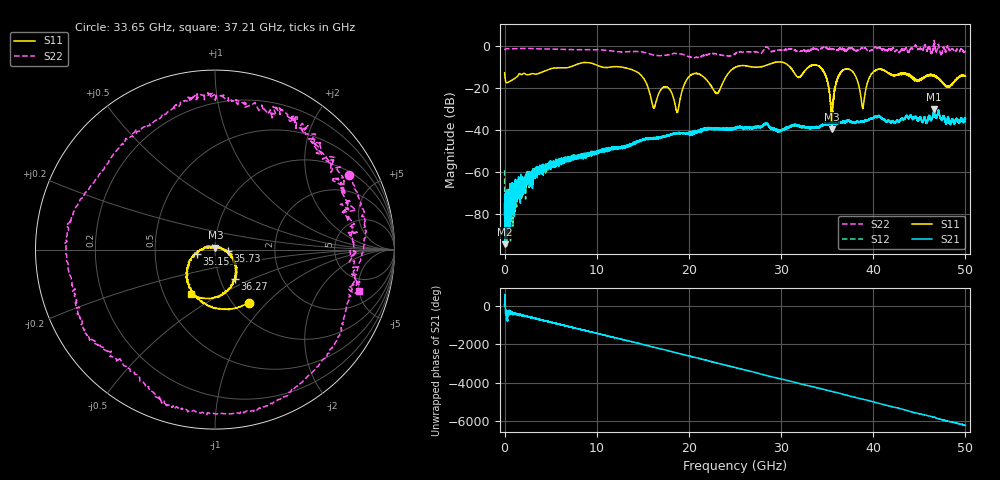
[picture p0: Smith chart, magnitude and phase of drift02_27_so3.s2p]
!Created with skrf (http://scikit-rf.org).
# Hz S RI R 50.0
!freq ReS11 ImS11 ReS21 ImS21 ReS12 ImS12 ReS22 ImS22
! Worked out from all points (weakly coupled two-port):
!   10001 points, 300 kHz to 50 GHz, reference 50 ohm
!   highest |S21| = -30.09 dB at 46.61 GHz (marker M1); lowest = -94.2 dB at 45.3 MHz (marker M2)
!   lowest |S11| = -39.7 dB at 35.5 GHz (marker M3), VSWR 1.02, Z = 50.2 + j1.03 ohm
!   |S11| at or under -10 dB: start of sweep to 7.177 GHz; 12.33 GHz to 25.16 GHz (12.84 GHz wide, 68.5 % of centre); 34.21 GHz to end of sweep (the widest 3 of 19)
!   |S22| runs from -5.7 to 2.5 dB; largest |S21 - S12| = 0.0033
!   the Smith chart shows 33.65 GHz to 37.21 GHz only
!   S11 on the Smith chart (normalised r, x): 33.65 GHz: 1.18, -0.79; 35.15 GHz: 0.81, -0.04; 35.73 GHz: 1.15, -0.02; 36.27 GHz: 1.17, -0.40; 37.21 GHz: 0.68, -0.37
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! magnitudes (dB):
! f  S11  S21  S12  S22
! 300 kHz  -12.9  -74.5  -59.1  -2.1
! 45.3 MHz  -15.0  -94.2  -81.6  -1.7
! 255.3 MHz  -17.6  -78.8  -81.2  -1.4
! 8.335 GHz  -8.2  -52.4  -52.3  -1.9
! 14 GHz  -11.7  -46.4  -46.3  -2.8
! 16.67 GHz  -23.2  -43.8  -43.7  -4.7
! 18.74 GHz  -31.7  -41.5  -41.4  -3.7
! 20.23 GHz  -13.9  -41.4  -41.8  -5.5
! 23.04 GHz  -22.7  -39.1  -39.3  -4.1
! 25 GHz  -10.4  -39.2  -39.1  -3.9
! 33.34 GHz  -9.2  -38.6  -38.6  -1.6
! 33.65 GHz  -9.1  -38.9  -38.6  -1.4
! 35.15 GHz  -19.6  -36.8  -37.3  -1.7
! 35.5 GHz  -39.7  -37.1  -36.8  -1.8
! 35.73 GHz  -22.9  -36.8  -36.6  -1.8
! 36.27 GHz  -14.1  -36.6  -36.6  -1.5
! 37.21 GHz  -11.0  -35.7  -35.7  -1.5
! 38.86 GHz  -29.8  -35.8  -36.2  -1.3
! 39.93 GHz  -12.9  -34.5  -34.5  -2.0
! 41.67 GHz  -13.1  -35.4  -35.7  -1.8
! 46.61 GHz  -14.2  -30.1  -30.1  2.5
! 50 GHz  -14.5  -34.6  -34.4  -2.8
